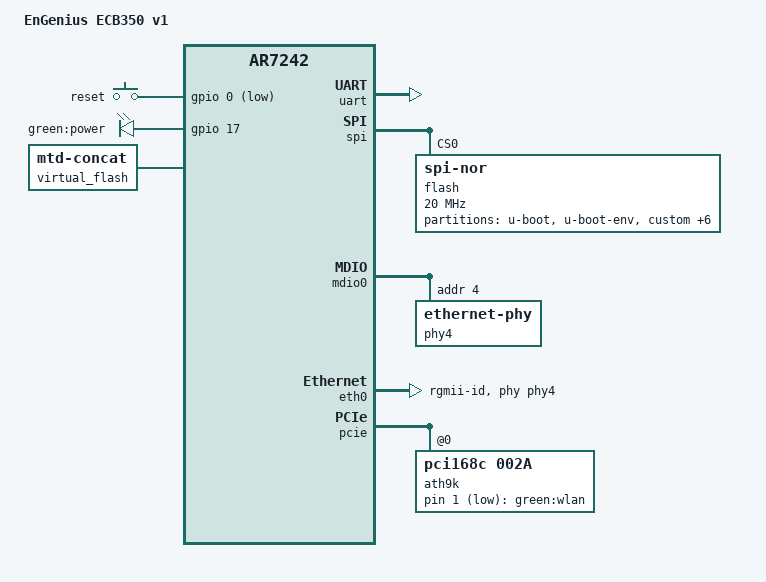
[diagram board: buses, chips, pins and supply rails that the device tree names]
// SPDX-License-Identifier: GPL-2.0-or-later OR MIT

#include "ar7242.dtsi"

#include <dt-bindings/gpio/gpio.h>
#include <dt-bindings/input/input.h>
#include <dt-bindings/mtd/partitions/uimage.h>

/ {
	compatible = "engenius,ecb350-v1", "qca,ar7242";
	model = "EnGenius ECB350 v1";

	aliases {
		label-mac-device = &ath9k;
		led-boot = &led_power;
		led-failsafe = &led_power;
		led-running = &led_power;
		led-upgrade = &led_power;
	};

	keys {
		compatible = "gpio-keys";

		reset {
			label = "reset";
			gpios = <&gpio 0 GPIO_ACTIVE_LOW>;
			debounce-interval = <60>;
			linux,code = <KEY_RESTART>;
		};
	};

	leds {
		compatible = "gpio-leds";

		led_power: power {
			label = "green:power";
			gpios = <&gpio 17 GPIO_ACTIVE_HIGH>;
			default-state = "on";
		};
	};

	ath9k-leds {
		compatible = "gpio-leds";

		wlan {
			label = "green:wlan";
			gpios = <&ath9k 1 GPIO_ACTIVE_LOW>;
			linux,default-trigger = "phy0tpt";
		};
	};

	virtual_flash {
		compatible = "mtd-concat";

		devices = <&fwconcat0 &fwconcat1>;

		partitions {
			compatible = "fixed-partitions";
			#address-cells = <1>;
			#size-cells = <1>;

			partition@0 {
				compatible = "openwrt,uimage", "denx,uimage";
				openwrt,ih-magic = <IH_MAGIC_OKLI>;
				label = "firmware";
				reg = <0x0 0x0>;
			};
		};
	};
};

&uart {
	status = "okay";
};

&spi {
	status = "okay";

	flash@0 {
		compatible = "jedec,spi-nor";
		reg = <0>;
		spi-max-frequency = <20000000>;

		partitions {
			compatible = "fixed-partitions";
			#address-cells = <1>;
			#size-cells = <1>;

			partition@0 {
				label = "u-boot";
				reg = <0x0 0x40000>;
				read-only;
			};

			partition@40000 {
				label = "u-boot-env";
				reg = <0x40000 0x10000>;
			};

			partition@50000 {
				label = "custom";
				reg = <0x50000 0x50000>;
				read-only;
			};

			partition@a0000 {
				label = "loader";
				reg = <0xa0000 0x10000>;
				read-only;
			};

			fwconcat1: partition@b0000 {
				label = "fwconcat1";
				reg = <0xb0000 0xf0000>;
			};

			partition@1a0000 {
				label = "fakeroot";
				reg = <0x1a0000 0x10000>;
				read-only;
			};

			fwconcat0: partition@1b0000 {
				label = "fwconcat0";
				reg = <0x1b0000 0x4c0000>;
			};

			partition@670000 {
				label = "failsafe";
				reg = <0x670000 0x180000>;
				read-only;
			};

			art: partition@7f0000 {
				label = "art";
				reg = <0x7f0000 0x10000>;
				read-only;
			};
		};
	};
};

&mdio0 {
	status = "okay";

	phy4: ethernet-phy@4 {
		reg = <4>;
		eee-broken-100tx;
		eee-broken-1000t;
	};
};

&eth0 {
	status = "okay";

	mtd-mac-address = <&art 0x0>;

	phy-handle = <&phy4>;
	phy-mode = "rgmii-id";

	pll-data = <0x02000000 0x00000101 0x00001313>;
};

&pcie {
	status = "okay";

	ath9k: wifi@0,0,0 {
		compatible = "pci168c,002a";
		reg = <0x0 0 0 0 0>;
		mtd-mac-address = <&art 0x0>;
		mtd-mac-address-increment = <(-1)>;
		qca,no-eeprom;
		#gpio-cells = <2>;
		gpio-controller;
	};
};
